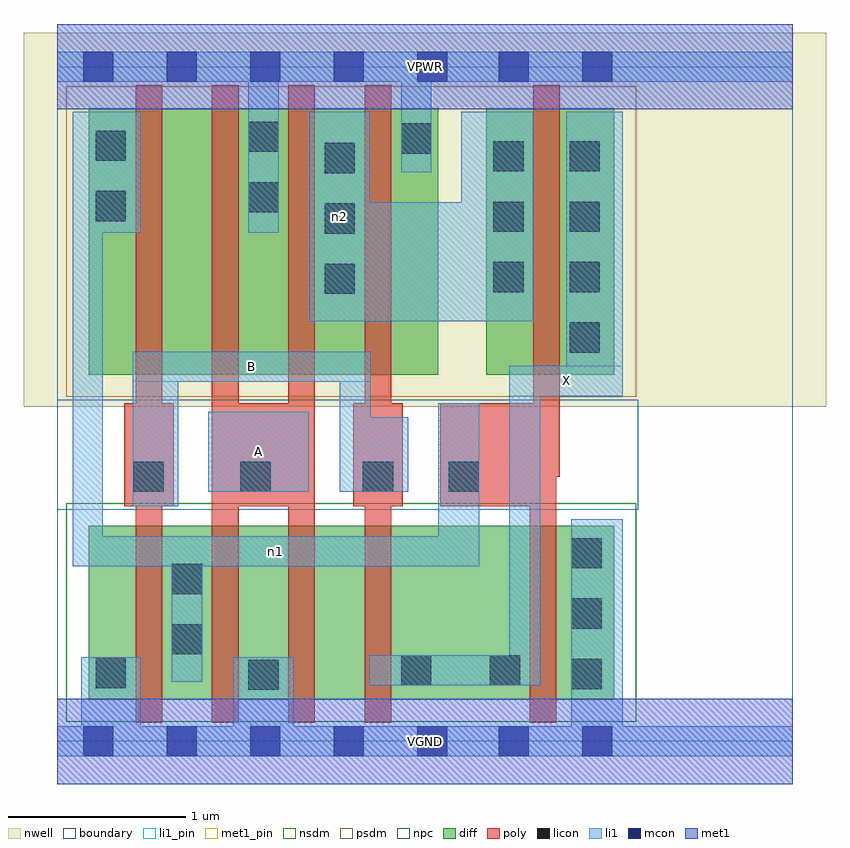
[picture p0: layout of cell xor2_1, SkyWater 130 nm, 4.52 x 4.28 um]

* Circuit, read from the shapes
.subckt xor2_1 A B VGND VPWR X n1 n2
XM1 n1 B VGND VSUBS sky130_fd_pr__nfet_01v8 w=0.98 l=0.15
XM2 VGND A n1 VSUBS sky130_fd_pr__nfet_01v8 w=0.98 l=0.15
XM3 n3 A VGND VSUBS sky130_fd_pr__nfet_01v8 w=0.98 l=0.15
XM4 X B n3 VSUBS sky130_fd_pr__nfet_01v8 w=0.98 l=0.15
XM5 VGND n1 X VSUBS sky130_fd_pr__nfet_01v8 w=0.98 l=0.15
XM6 n4 B n1 n5 sky130_fd_pr__pfet_01v8 w=1.5 l=0.15
XM7 VPWR A n4 n5 sky130_fd_pr__pfet_01v8 w=1.5 l=0.15
XM8 n2 A VPWR n5 sky130_fd_pr__pfet_01v8 w=1.5 l=0.15
XM9 VPWR B n2 n5 sky130_fd_pr__pfet_01v8 w=1.5 l=0.15
XM10 X n1 n2 n5 sky130_fd_pr__pfet_01v8 w=1.5 l=0.15
.ends

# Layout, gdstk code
import gdstk
lib = gdstk.Library(unit=1e-6, precision=1e-09)
def R(c, l, rs):  # rectangles x0, y0, x1, y1
    for r in rs: c.add(gdstk.rectangle(r[:2], r[2:], *l))
def A(c, l, x, y, w, h, nx, ny, dx, dy):  # array of equal rectangles
    R(c, l, [(x+i*dx, y+j*dy, x+i*dx+w, y+j*dy+h) for i in range(nx) for j in range(ny)])
nwell = (64, 20)
diff = (65, 20)
poly = (66, 20)
licon = (66, 44)
li1_pin = (67, 16)
li1 = (67, 20)
mcon = (67, 44)
met1_pin = (68, 16)
met1 = (68, 20)
nsdm = (93, 44)
psdm = (94, 20)
npc = (95, 20)
boundary = (235, 4)

xor2_1 = lib.new_cell('xor2_1')
R(xor2_1, nwell, [(-0.19,1.885,4.33,3.99), (0,1.885,4.14,3.99)])
R(xor2_1, diff, [(0.175,0.235,3.135,1.215), (0.175,2.065,2.145,3.565), (2.415,2.065,3.135,3.565)])
A(xor2_1, poly, 0.44, 0.105, 0.15, 3.59, 4, 1, 0.43, 0)
R(xor2_1, poly, [(2.66,0.105,2.81,1.905), (0.375,1.325,0.655,1.905), (0.87,1.325,1.45,1.905), (1.665,1.325,1.945,1.905), (2.155,1.325,2.81,1.905), (2.68,1.49,2.83,3.695)])
A(xor2_1, licon, 2.895, 0.295, 0.17, 0.17, 1, 3, 0, 0.34)
A(xor2_1, licon, 2.885, 2.19, 0.17, 0.17, 1, 4, 0, 0.34)
A(xor2_1, licon, 1.505, 2.52, 0.17, 0.17, 1, 3, 0, 0.34)
A(xor2_1, licon, 2.455, 2.53, 0.17, 0.17, 1, 3, 0, 0.34)
R(xor2_1, licon, [(1.075,0.29,1.245,0.46), (0.215,0.3,0.385,0.47), (1.935,0.315,2.105,0.485), (2.435,0.315,2.605,0.485), (0.645,0.49,0.815,0.66), (0.645,0.83,0.815,1), (0.43,1.405,0.6,1.575), (1.03,1.405,1.2,1.575), (1.72,1.405,1.89,1.575), (2.205,1.405,2.375,1.575), (0.215,2.93,0.385,3.1), (1.075,2.98,1.245,3.15), (0.215,3.27,0.385,3.44), (1.935,3.31,2.105,3.48), (1.075,3.32,1.245,3.49)])
R(xor2_1, li1_pin, [(0.85,1.405,1.415,1.855), (2.545,1.945,3.185,2.115), (0.425,2.025,1.765,2.195)])
R(xor2_1, li1, [(0,-0.085,4.14,0.085), (0.135,-0.085,0.47,0.475), (0.99,-0.085,1.33,0.475), (2.895,-0.085,3.185,1.25), (1.755,0.315,2.72,0.485), (2.545,0.315,2.72,2.115), (0.645,0.335,0.815,1.155), (0.085,0.985,2.375,1.155), (0.085,0.985,0.255,3.545), (2.145,0.985,2.375,1.905), (0.425,1.325,0.68,2.195), (0.85,1.405,1.415,1.855), (1.59,1.405,1.975,1.825), (1.59,1.405,1.765,2.195), (2.545,1.945,3.185,2.115), (2.865,1.945,3.185,3.545), (0.425,2.025,1.765,2.195), (1.42,2.365,1.76,3.545), (1.42,2.365,2.68,3.035), (2.275,2.365,2.68,3.545), (0.085,2.865,0.47,3.545), (1.075,2.865,1.245,3.885), (1.935,3.205,2.105,3.885), (0,3.715,4.14,3.885)])
A(xor2_1, mcon, 0.145, -0.085, 0.17, 0.17, 5, 2, 0.47, 3.8)
R(xor2_1, mcon, [(2.485,-0.085,2.655,0.085), (2.955,-0.085,3.125,0.085), (2.485,3.715,2.655,3.885), (2.955,3.715,3.125,3.885)])
R(xor2_1, met1_pin, [(0,-0.24,4.14,0.24), (0,3.56,4.14,4.04)])
R(xor2_1, met1, [(0,-0.24,4.14,0.24), (0,3.56,4.14,4.04)])
R(xor2_1, nsdm, [(0.05,0.11,3.26,1.34)])
R(xor2_1, psdm, [(0.05,1.94,3.26,3.69)])
R(xor2_1, npc, [(0,1.305,3.27,1.925)])
R(xor2_1, boundary, [(0,0,4.14,3.8)])
xor2_1.add(gdstk.Label('A', (1.132,1.63), layer=67, texttype=5))
xor2_1.add(gdstk.Label('B', (1.095,2.11), layer=67, texttype=5))
xor2_1.add(gdstk.Label('X', (2.865,2.03), layer=67, texttype=5))
xor2_1.add(gdstk.Label('n1', (1.23,1.07), layer=67, texttype=5))
xor2_1.add(gdstk.Label('n2', (1.59,2.955), layer=67, texttype=5))
xor2_1.add(gdstk.Label('VPWR', (2.07,3.8), layer=68, texttype=5))
xor2_1.add(gdstk.Label('VGND', (2.07,0), layer=68, texttype=5))
xor2_1.add(gdstk.Label('A', (1.132,1.63), layer=67, texttype=16))
xor2_1.add(gdstk.Label('B', (1.095,2.11), layer=67, texttype=16))
xor2_1.add(gdstk.Label('X', (2.865,2.03), layer=67, texttype=16))
xor2_1.add(gdstk.Label('VPWR', (2.07,3.8), layer=68, texttype=16))
xor2_1.add(gdstk.Label('VGND', (2.07,0), layer=68, texttype=16))

lib.write_gds('xor2_1.gds')
